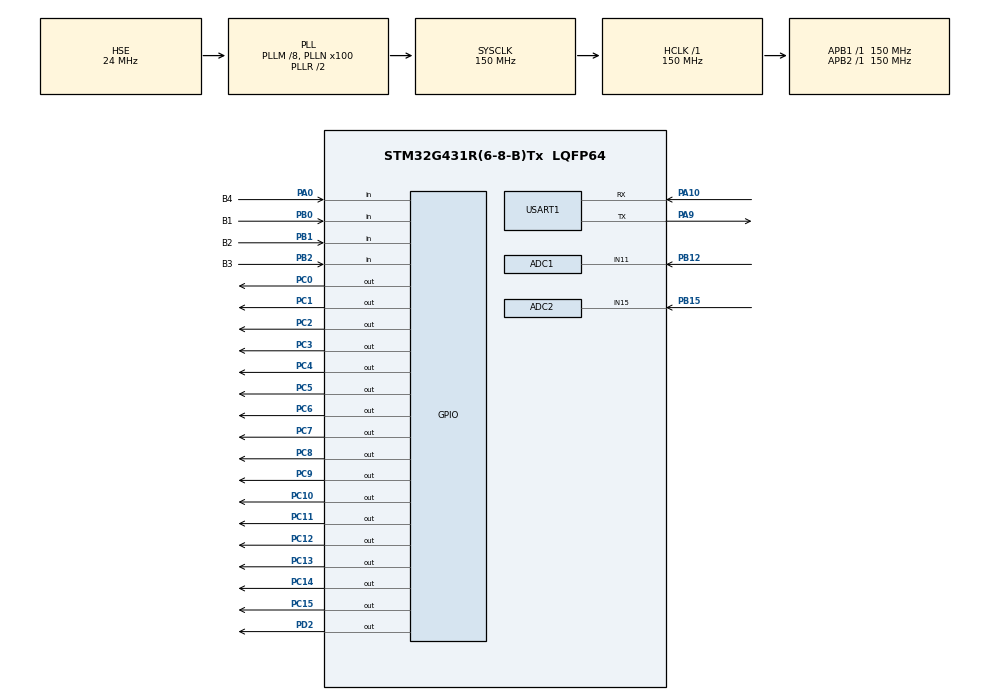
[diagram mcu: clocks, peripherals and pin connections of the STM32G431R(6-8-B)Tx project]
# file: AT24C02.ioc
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ADC1.Channel-0\#ChannelRegularConversion=ADC_CHANNEL_11
ADC1.NbrOfConversionFlag=1
ADC1.OffsetNumber-0\#ChannelRegularConversion=ADC_OFFSET_NONE
ADC1.Rank-0\#ChannelRegularConversion=1
ADC1.SamplingTime-0\#ChannelRegularConversion=ADC_SAMPLETIME_247CYCLES_5
ADC1.master=1
ADC2.Channel-0\#ChannelRegularConversion=ADC_CHANNEL_15
ADC2.NbrOfConversionFlag=1
ADC2.OffsetNumber-0\#ChannelRegularConversion=ADC_OFFSET_NONE
ADC2.Rank-0\#ChannelRegularConversion=1
ADC2.SamplingTime-0\#ChannelRegularConversion=ADC_SAMPLETIME_47CYCLES_5
Mcu.Family=STM32G4
Mcu.Name=STM32G431R(6-8-B)Tx
Mcu.Package=LQFP64
NVIC.PriorityGroup=NVIC_PRIORITYGROUP_4
NVIC.USART1_IRQn=true\:0\:0\:false\:false\:true\:true\:true\:true
PA0.GPIO_Label=B4
PA0.Signal=GPIO_Input
PA10.Mode=Asynchronous
PA10.Signal=USART1_RX
PA13.Mode=Serial_Wire
PA13.Signal=SYS_JTMS-SWDIO
PA14.Mode=Serial_Wire
PA14.Signal=SYS_JTCK-SWCLK
PA9.Mode=Asynchronous
PA9.Signal=USART1_TX
PB0.GPIO_Label=B1
PB0.Signal=GPIO_Input
PB1.GPIO_Label=B2
PB1.Signal=GPIO_Input
PB12.Mode=IN11-Single-Ended
PB12.Signal=ADC1_IN11
PB15.Mode=IN15-Single-Ended
PB15.Signal=ADC2_IN15
PB2.GPIO_Label=B3
PB2.Signal=GPIO_Input
PC0.Signal=GPIO_Output
PC1.Signal=GPIO_Output
PC10.Signal=GPIO_Output
PC11.Signal=GPIO_Output
PC12.Signal=GPIO_Output
PC13.Signal=GPIO_Output
PC14-OSC32_IN.Signal=GPIO_Output
PC15-OSC32_OUT.Signal=GPIO_Output
PC2.Signal=GPIO_Output
PC3.Signal=GPIO_Output
PC4.Signal=GPIO_Output
PC5.Signal=GPIO_Output
PC6.Signal=GPIO_Output
PC7.Signal=GPIO_Output
PC8.Signal=GPIO_Output
PC9.Signal=GPIO_Output
PD2.Signal=GPIO_Output
PF0-OSC_IN.Mode=HSE-External-Oscillator
PF0-OSC_IN.Signal=RCC_OSC_IN
PF1-OSC_OUT.Mode=HSE-External-Oscillator
PF1-OSC_OUT.Signal=RCC_OSC_OUT
ProjectManager.HeapSize=0x200
ProjectManager.StackSize=0x400
ProjectManager.TargetToolchain=MDK-ARM V5.32
RCC.ADC12Freq_Value=150000000
RCC.AHBFreq_Value=150000000
RCC.APB1Freq_Value=150000000
RCC.APB1TimFreq_Value=150000000
RCC.APB2Freq_Value=150000000
RCC.APB2TimFreq_Value=150000000
RCC.CortexFreq_Value=150000000
RCC.EXTERNAL_CLOCK_VALUE=12288000
RCC.HCLKFreq_Value=150000000
RCC.HSE_VALUE=24000000
RCC.HSI48_VALUE=48000000
RCC.HSI_VALUE=16000000
RCC.LSE_VALUE=32768
RCC.PLLM=RCC_PLLM_DIV8
RCC.PLLN=100
RCC.PLLSourceVirtual=RCC_PLLSOURCE_HSE
RCC.SYSCLKFreq_VALUE=150000000
RCC.SYSCLKSource=RCC_SYSCLKSOURCE_PLLCLK
RCC.USBFreq_Value=150000000
RCC.VCOOutputFreq_Value=300000000
USART1.VirtualMode-Asynchronous=VM_ASYNC
VP_SYS_VS_DBSignals.Mode=DisableDeadBatterySignals
board=custom

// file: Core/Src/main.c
/* USER CODE BEGIN Header */
/**
 ******************************************************************************
 * @file           : main.c
 * @brief          : Main program body
 ******************************************************************************
 * @attention
 *
 * Copyright (c) 2024 STMicroelectronics.
 * All rights reserved.
 *
 * This software is licensed under terms that can be found in the LICENSE file
 * in the root directory of this software component.
 * If no LICENSE file comes with this software, it is provided AS-IS.
 *
 ******************************************************************************
 */
/* USER CODE END Header */
#include "main.h"
#include "adc.h"
#include "usart.h"
#include "gpio.h"

/* USER CODE BEGIN Includes */
#include "i2c - hal.h"
#include "stdio.h"
#include "string.h"
/* USER CODE END Includes */

/* USER CODE BEGIN PV */
char message[100];
/* USER CODE END PV */

void SystemClock_Config(void);

int main(void)
{

    /* MCU Configuration--------------------------------------------------------*/

    /* Reset of all peripherals, Initializes the Flash interface and the Systick. */
    HAL_Init();

    /* Configure the system clock */
    SystemClock_Config();

    /* Initialize all configured peripherals */
    MX_GPIO_Init();
    MX_ADC1_Init();
    MX_ADC2_Init();
    MX_USART1_UART_Init();

    /* Infinite loop */
    /* USER CODE BEGIN WHILE */
    I2CInit();
    while (1) {
        uchar a = eeprom_read(1);
        HAL_Delay(5);
        uchar e2Buf[4];

        *(float *)e2Buf = 1.1;
        eeprom_write(2, e2Buf[0]);
        HAL_Delay(5);
        eeprom_write(3, e2Buf[1]);
        HAL_Delay(5);
        eeprom_write(4, e2Buf[2]);
        HAL_Delay(5);
        eeprom_write(5, e2Buf[3]);
        HAL_Delay(5);

        e2Buf[0]     = eeprom_read(2);
        HAL_Delay(5);
        e2Buf[1]     = eeprom_read(3);
        HAL_Delay(5);
        e2Buf[2]     = eeprom_read(4);
        HAL_Delay(5);
        e2Buf[3]     = eeprom_read(5);
        HAL_Delay(5);
        float res = *(float *)e2Buf;
        sprintf(message, "%f\n", res);
        HAL_UART_Transmit(&huart1, (uint8_t *)message, strlen(message), 50);
        HAL_Delay(500);
        /* USER CODE END WHILE */

    }
}

void SystemClock_Config(void)
{
    RCC_OscInitTypeDef RCC_OscInitStruct = {0};
    RCC_ClkInitTypeDef RCC_ClkInitStruct = {0};

    /** Configure the main internal regulator output voltage
     */
    HAL_PWREx_ControlVoltageScaling(PWR_REGULATOR_VOLTAGE_SCALE1);

    /** Initializes the RCC Oscillators according to the specified parameters
     * in the RCC_OscInitTypeDef structure.
     */
    RCC_OscInitStruct.OscillatorType = RCC_OSCILLATORTYPE_HSE;
    RCC_OscInitStruct.HSEState       = RCC_HSE_ON;
    RCC_OscInitStruct.PLL.PLLState   = RCC_PLL_ON;
    RCC_OscInitStruct.PLL.PLLSource  = RCC_PLLSOURCE_HSE;
    RCC_OscInitStruct.PLL.PLLM       = RCC_PLLM_DIV8;
    RCC_OscInitStruct.PLL.PLLN       = 100;
    RCC_OscInitStruct.PLL.PLLP       = RCC_PLLP_DIV2;
    RCC_OscInitStruct.PLL.PLLQ       = RCC_PLLQ_DIV2;
    RCC_OscInitStruct.PLL.PLLR       = RCC_PLLR_DIV2;
    if (HAL_RCC_OscConfig(&RCC_OscInitStruct) != HAL_OK) {
        Error_Handler();
    }

    /** Initializes the CPU, AHB and APB buses clocks
     */
    RCC_ClkInitStruct.ClockType      = RCC_CLOCKTYPE_HCLK | RCC_CLOCKTYPE_SYSCLK | RCC_CLOCKTYPE_PCLK1 | RCC_CLOCKTYPE_PCLK2;
    RCC_ClkInitStruct.SYSCLKSource   = RCC_SYSCLKSOURCE_PLLCLK;
    RCC_ClkInitStruct.AHBCLKDivider  = RCC_SYSCLK_DIV1;
    RCC_ClkInitStruct.APB1CLKDivider = RCC_HCLK_DIV1;
    RCC_ClkInitStruct.APB2CLKDivider = RCC_HCLK_DIV1;

    if (HAL_RCC_ClockConfig(&RCC_ClkInitStruct, FLASH_LATENCY_4) != HAL_OK) {
        Error_Handler();
    }
}

void Error_Handler(void)
{
    __disable_irq();
    while (1) {
    }
}
